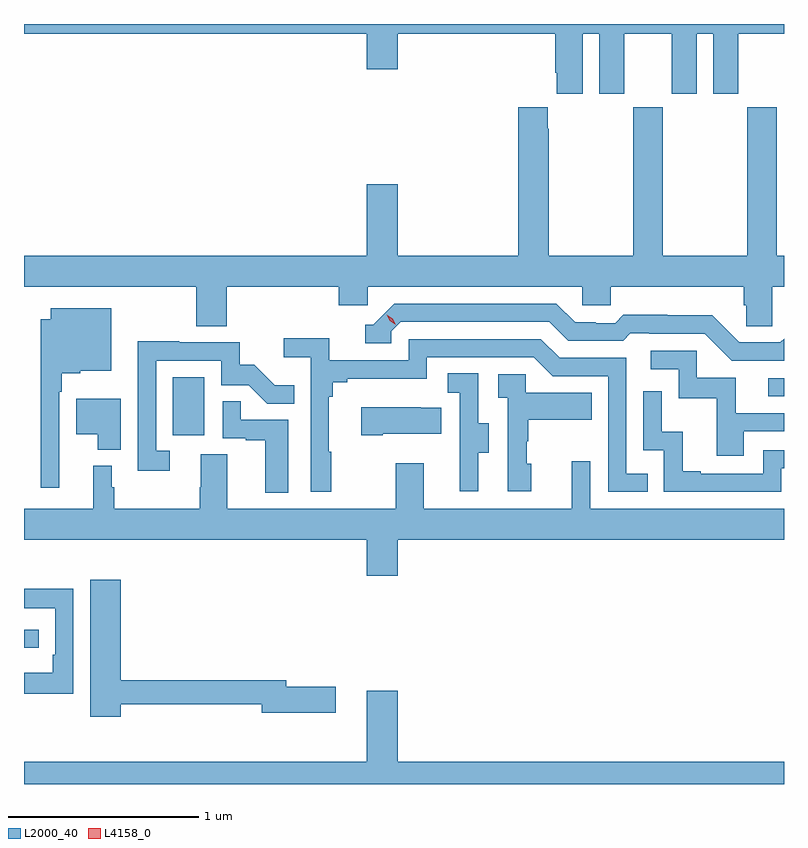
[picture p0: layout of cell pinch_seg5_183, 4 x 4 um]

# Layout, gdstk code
import gdstk
lib = gdstk.Library(unit=1e-6, precision=1e-09)
def R(c, l, rs):  # rectangles x0, y0, x1, y1
    for r in rs: c.add(gdstk.rectangle(r[:2], r[2:], *l))
def P(c, l, *ps):  # polygons
    for p in ps: c.add(gdstk.Polygon(p, *l))
L2000_40 = (2000, 40)
L4158_0 = (4158, 0)

pinch_seg5_183 = lib.new_cell('pinch_seg5_183')
R(pinch_seg5_183, L2000_40, [(1122.244,874.839,1122.322,874.935), (1123.028,875.958,1123.192,876.265), (1126.161,876.165,1126.244,876.258)])
P(pinch_seg5_183, L2000_40, [(1126.003,878.072),(1126.244,878.072),(1126.244,878.123),(1122.244,878.123),(1122.244,878.072),(1124.048,878.072),(1124.048,877.884),(1124.212,877.884),(1124.212,878.072),(1125.041,878.072),(1125.041,877.867),(1125.047,877.867),(1125.047,877.755),(1125.184,877.755),(1125.184,878.072),(1125.272,878.072),(1125.272,877.755),(1125.403,877.755),(1125.403,878.072),(1125.653,878.072),(1125.653,877.755),(1125.784,877.755),(1125.784,878.072),(1125.872,878.072),(1125.872,877.755),(1126.003,877.755)],
  [(1123.31,876.74),(1123.901,876.74),(1123.901,876.642),(1124.052,876.642),(1124.052,876.74),(1125.183,876.74),(1125.183,876.642),(1125.333,876.642),(1125.333,876.74),(1126.031,876.74),(1126.031,876.642),(1126.045,876.642),(1126.045,876.532),(1126.182,876.532),(1126.182,876.74),(1126.244,876.74),(1126.244,876.904),(1126.206,876.904),(1126.206,877.684),(1126.051,877.684),(1126.051,876.904),(1125.606,876.904),(1125.606,877.684),(1125.451,877.684),(1125.451,876.904),(1125.006,876.904),(1125.006,877.571),(1125.001,877.571),(1125.001,877.684),(1124.846,877.684),(1124.846,876.904),(1124.212,876.904),(1124.212,877.279),(1124.048,877.279),(1124.048,876.904),(1122.244,876.904),(1122.244,876.74),(1123.15,876.74),(1123.15,876.532),(1123.31,876.532)],
  [(1126.244,876.467),(1126.224,876.447),(1126.008,876.447),(1125.866,876.589),(1125.63,876.589),(1125.63,876.592),(1125.397,876.592),(1125.355,876.549),(1125.252,876.549),(1125.252,876.552),(1125.145,876.552),(1125.046,876.651),(1124.193,876.651),(1124.082,876.54),(1124.039,876.54),(1124.039,876.444),(1124.178,876.444),(1124.178,876.507),(1124.226,876.555),(1125.009,876.555),(1125.108,876.456),(1125.397,876.456),(1125.436,876.495),(1125.535,876.495),(1125.535,876.492),(1125.828,876.492),(1125.969,876.351),(1126.244,876.351)],
  [(1122.429,876.188),(1122.442,876.188),(1122.442,876.284),(1122.54,876.284),(1122.54,876.299),(1122.703,876.299),(1122.703,876.628),(1122.386,876.628),(1122.386,876.568),(1122.332,876.568),(1122.332,875.682),(1122.429,875.682)],
  [(1123.861,875.873),(1123.849,875.873),(1123.849,876.161),(1123.868,876.161),(1123.868,876.238),(1123.945,876.238),(1123.945,876.257),(1124.364,876.257),(1124.364,876.369),(1124.928,876.369),(1125.027,876.27),(1125.318,876.27),(1125.318,875.661),(1125.527,875.661),(1125.527,875.757),(1125.414,875.757),(1125.414,876.366),(1125.064,876.366),(1124.965,876.465),(1124.268,876.465),(1124.268,876.354),(1123.85,876.354),(1123.85,876.47),(1123.611,876.47),(1123.611,876.368),(1123.752,876.368),(1123.752,875.661),(1123.861,875.661)],
  [(1123.012,875.877),(1122.939,875.877),(1122.939,876.351),(1123.281,876.351),(1123.281,876.222),(1123.426,876.222),(1123.524,876.124),(1123.667,876.124),(1123.667,876.223),(1123.563,876.223),(1123.456,876.33),(1123.38,876.33),(1123.38,876.447),(1123.061,876.447),(1123.061,876.452),(1122.843,876.452),(1122.843,875.772),(1123.012,875.772)],
  [(1126.033,875.979),(1126.244,875.979),(1126.244,876.075),(1125.991,876.075),(1125.991,876.261),(1125.786,876.261),(1125.786,876.402),(1125.543,876.402),(1125.543,876.306),(1125.69,876.306),(1125.69,876.153),(1125.889,876.153),(1125.889,875.85),(1126.033,875.85)],
  [(1124.635,875.866),(1124.689,875.866),(1124.689,876.021),(1124.634,876.021),(1124.634,876.284),(1124.475,876.284),(1124.475,876.181),(1124.538,876.181),(1124.538,875.877),(1124.537,875.877),(1124.537,875.664),(1124.635,875.664)],
  [(1124.914,875.808),(1124.889,875.808),(1124.889,875.927),(1124.899,875.927),(1124.899,876.041),(1125.233,876.041),(1125.233,876.181),(1124.886,876.181),(1124.886,876.279),(1124.739,876.279),(1124.739,876.155),(1124.79,876.155),(1124.79,875.664),(1124.914,875.664)],
  [(1126.23,875.784),(1126.244,875.784),(1126.244,875.88),(1126.134,875.88),(1126.134,875.757),(1125.805,875.757),(1125.805,875.77),(1125.71,875.77),(1125.71,875.978),(1125.6,875.978),(1125.6,876.19),(1125.504,876.19),(1125.504,875.88),(1125.612,875.88),(1125.612,875.661),(1126.23,875.661)],
  [(1122.754,876.151),(1122.518,876.151),(1122.518,875.963),(1122.632,875.963),(1122.632,875.882),(1122.754,875.882)],
  [(1123.636,876.039),(1123.385,876.039),(1123.385,876.137),(1123.29,876.137),(1123.29,875.943),(1123.411,875.943),(1123.411,875.931),(1123.514,875.931),(1123.514,875.657),(1123.636,875.657)],
  [(1124.131,875.966),(1124.441,875.966),(1124.441,876.103),(1124.333,876.103),(1124.333,876.106),(1124.019,876.106),(1124.019,875.959),(1124.131,875.959)],
  [(1124.212,875.408),(1126.244,875.408),(1126.244,875.572),(1125.225,875.572),(1125.225,875.821),(1125.128,875.821),(1125.128,875.572),(1124.347,875.572),(1124.347,875.812),(1124.2,875.812),(1124.2,875.572),(1123.315,875.572),(1123.315,875.858),(1123.175,875.858),(1123.175,875.684),(1123.168,875.684),(1123.168,875.572),(1122.718,875.572),(1122.718,875.684),(1122.706,875.684),(1122.706,875.797),(1122.608,875.797),(1122.608,875.572),(1122.244,875.572),(1122.244,875.408),(1124.048,875.408),(1124.048,875.22),(1124.212,875.22)],
  [(1122.754,874.542),(1123.496,874.542),(1123.496,874.499),(1123.885,874.499),(1123.885,874.634),(1123.624,874.634),(1123.624,874.67),(1122.754,874.67),(1122.754,875.197),(1122.593,875.197),(1122.593,874.476),(1122.754,874.476)],
  [(1122.504,875.15),(1122.244,875.15),(1122.244,875.049),(1122.408,875.049),(1122.408,874.804),(1122.395,874.804),(1122.395,874.708),(1122.244,874.708),(1122.244,874.599),(1122.504,874.599)],
  [(1126.244,874.24),(1124.212,874.24),(1124.212,874.615),(1124.048,874.615),(1124.048,874.24),(1122.244,874.24),(1122.244,874.123),(1126.244,874.123)])
P(pinch_seg5_183, L4158_0, [(1124.201,876.541),(1124.17,876.56),(1124.154,876.592),(1124.154,876.592),(1124.154,876.592),(1124.185,876.573),(1124.201,876.541),(1124.201,876.541)])

lib.write_gds('pinch_seg5_183.gds')
